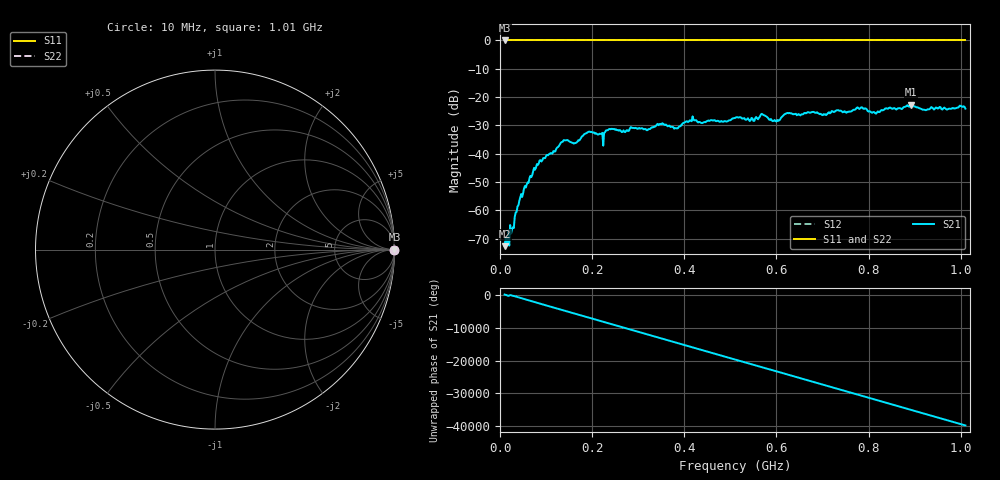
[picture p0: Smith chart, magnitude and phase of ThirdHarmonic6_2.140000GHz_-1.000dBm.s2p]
! 8/17/2025 1:34:00 AM
! C:\ANRITSUVNA\TEMP\TEMP.S2P
! CHANNEL.1
! TR.MEASUREMENT
! RAW.DATA
! RF.CORRECTION.OFF
! AVERAGING.OFF
! IF.BANDWIDTH: 5KHZ
! SWEEPTYPE:  FREQ.SWEEP(Linear)
! Reference Plane Port Info
! PORT:  PORT1  PORT2
! DISTANCE:  0  m  0  m
! TIME:  0  s  0  s
! PHASE.OFFSET:  0  deg.  0  deg.
! LOSS:  0  dB  0  dB
! REF.LOSS:  0  dB  0  dB
! REF.FREQ:  0  Hz  0  Hz
! Power Info
! POWER:  -20  dBm  -20  dBm
! EFF.POWER:  -20  dBm  -20  dBm
! SOURCE.ATTEN:  0  dB  0  dB
! TEST.ATTEN:  0  dB  0  dB
# GHZ S RI R 50.0
! FREQ.GHZ  S11RE  S11IM  S21RE  S21IM  S12RE  S12IM  S22RE  S22IM
!; PortSelection: Port_12
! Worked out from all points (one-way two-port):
!   501 points, 10 MHz to 1.01 GHz, reference 50 ohm
!   highest |S21| = -22.63 dB at 892 MHz (marker M1); lowest = -72.7 dB at 10 MHz (marker M2)
!   lowest |S11| = 0.0 dB at 10 MHz (marker M3)
!   |S11| at or under -10 dB: nowhere
!   |S22| runs from 0.0 to 0.0 dB; largest |S21 - S12| = 1.1
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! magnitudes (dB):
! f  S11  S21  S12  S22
! 10 MHz  0.0  -72.7  0.0  0.0
! 28 MHz  0.0  -66.0  0.0  0.0
! 42 MHz  0.0  -56.6  0.0  0.0
! 50 MHz  0.0  -54.1  0.0  0.0
! 84 MHz  0.0  -43.5  0.0  0.0
! 136 MHz  0.0  -35.8  0.0  0.0
! 162 MHz  0.0  -36.3  0.0  0.0
! 178 MHz  0.0  -33.9  0.0  0.0
! 344 MHz  0.0  -29.9  0.0  0.0
! 382 MHz  0.0  -31.0  0.0  0.0
! 416 MHz  0.0  -28.5  0.0  0.0
! 510 MHz  0.0  -27.4  0.0  0.0
! 548 MHz  0.0  -27.6  0.0  0.0
! 570 MHz  0.0  -26.1  0.0  0.0
! 602 MHz  0.0  -28.1  0.0  0.0
! 624 MHz  0.0  -25.6  0.0  0.0
! 678 MHz  0.0  -25.3  0.0  0.0
! 782 MHz  0.0  -23.9  0.0  0.0
! 814 MHz  0.0  -25.6  0.0  0.0
! 844 MHz  0.0  -23.9  0.0  0.0
! 892 MHz  0.0  -22.6  0.0  0.0
! 1.01 GHz  0.0  -24.1  0.0  0.0
